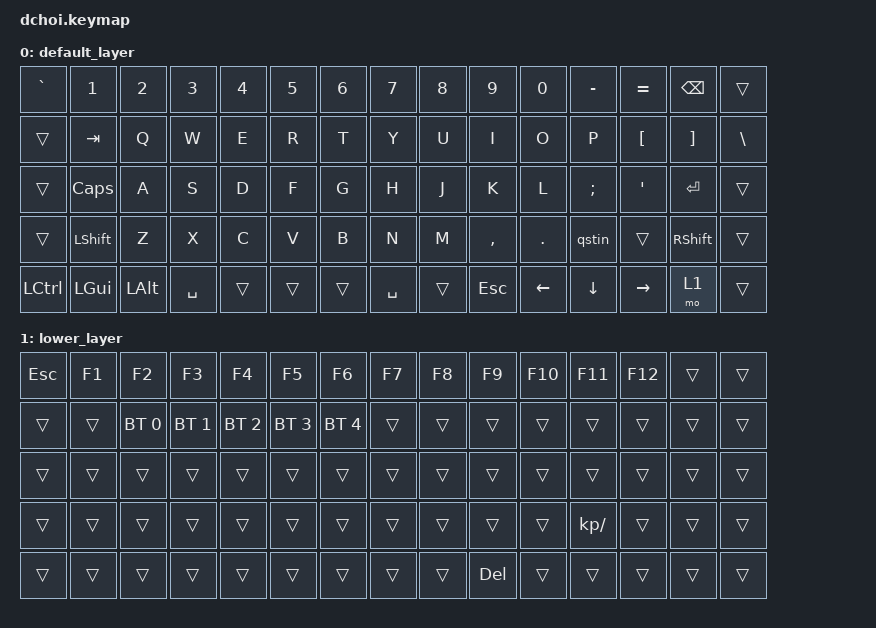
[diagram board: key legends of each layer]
/*
 * Copyright (c) 2020 The ZMK Contributors
 *
 * SPDX-License-Identifier: MIT
 */

#include <behaviors.dtsi>
#include <dt-bindings/zmk/keys.h>
#include <dt-bindings/zmk/bt.h>

/ {
        keymap {
                compatible = "zmk,keymap";

                default_layer {
// ---------------------------------------------------------------------------------
// |  `  |   1  |  2  |  3  |  4  |  5  |  6  |     |  7  |  8  |  9  |  0  |  -  |  +  | BKSP |     |
// |     |  TAB |  Q  |  W  |  E  |  R  |  T  |     |  Y  |  U  |  I  |  O  |  P  |  [  |  ]   |  \  |
// |     | CAPS |  A  |  S  |  D  |  F  |  G  |     |  H  |  J  |  K  |  L  |  ;  |  '  | ENT  |     |
// |     | SHFT |  Z  |  X  |  C  |  V  |  B  |     |  N  |  M  |  ,  |  .  |  /  |     | SHFT |     |
// | CTRL | GUI | ALT | SPC |     |     |     |     | SPC |     | ALT | ALT |     | LOW | CTRL |     |
                        bindings = <
   &kp GRAVE  &kp N1    &kp N2    &kp N3    &kp N4     &kp N5     &kp N6                        &kp N7     &kp N8   &kp N9     &kp N0    &kp MINUS &kp EQUAL &kp BSPC  &trans
   &trans     &kp TAB   &kp Q     &kp W     &kp E      &kp R      &kp T                         &kp Y      &kp U    &kp I      &kp O     &kp P     &kp LBKT  &kp RBKT  &kp BSLH
   &trans     &kp CAPS  &kp A     &kp S     &kp D      &kp F      &kp G                         &kp H      &kp J    &kp K      &kp L     &kp SEMI  &kp APOS  &kp RET   &trans
   &trans     &kp LSHFT &kp Z     &kp X     &kp C      &kp V      &kp B                         &kp N      &kp M    &kp COMMA  &kp DOT   &qstin    &trans    &kp RSHFT &trans 
   &kp LCTRL  &kp LGUI  &kp LALT  &kp SPACE &trans     &trans     &trans                        &kp SPACE  &trans   &kp ESC    &kp LEFT  &kp DOWN  &kp RIGHT &mo 1     &trans
                        >;
                };
                lower_layer {
// -----------------------------------------------------------------------------------------
// |  TAB |  1  |  2  |  3  |  4  |  5  |   |  6  |  7  |  8  |  9  |  0  | BSPC |
// | BTCLR| BT1 | BT2 | BT3 | BT4 | BT5 |   | LFT | DWN |  UP | RGT |     |      |
// | SHFT |     |     |     |     |     |   |     |     |     |     |     |      |
//                    | GUI |     | SPC |   | ENT |     | ALT |
                        bindings = <
   &kp ESC    &kp F1    &kp F2    &kp F3    &kp F4     &kp F5     &kp F6                        &kp F7     &kp F8    &kp F9    &kp F10   &kp F11    &kp F12    &trans   &trans
   &trans     &trans    &bt BT_SEL 0    &bt BT_SEL 1    &bt BT_SEL 2     &bt BT_SEL 3     &bt BT_SEL 4                        &trans     &trans    &trans    &trans    &trans     &trans     &trans   &trans
   &trans     &trans    &trans    &trans    &trans     &trans     &trans                        &trans     &trans    &trans    &trans    &trans     &trans     &trans   &trans
   &trans     &trans    &trans    &trans    &trans     &trans     &trans                        &trans     &trans    &trans    &trans    &kp KP_SLASH     &trans     &trans   &trans
   &trans     &trans    &trans    &trans    &trans     &trans     &trans                        &trans     &trans    &kp DEL   &trans    &trans     &trans     &trans    &trans
                        >;
                };
        };
        behaviors {
                qstin: question_slash {
                compatible = "zmk,behavior-mod-morph";
                #binding-cells = <0>;
                bindings = <&kp UP>, <&kp QUESTION>;
                mods = <(MOD_RSFT)>;
                };
        };
};
